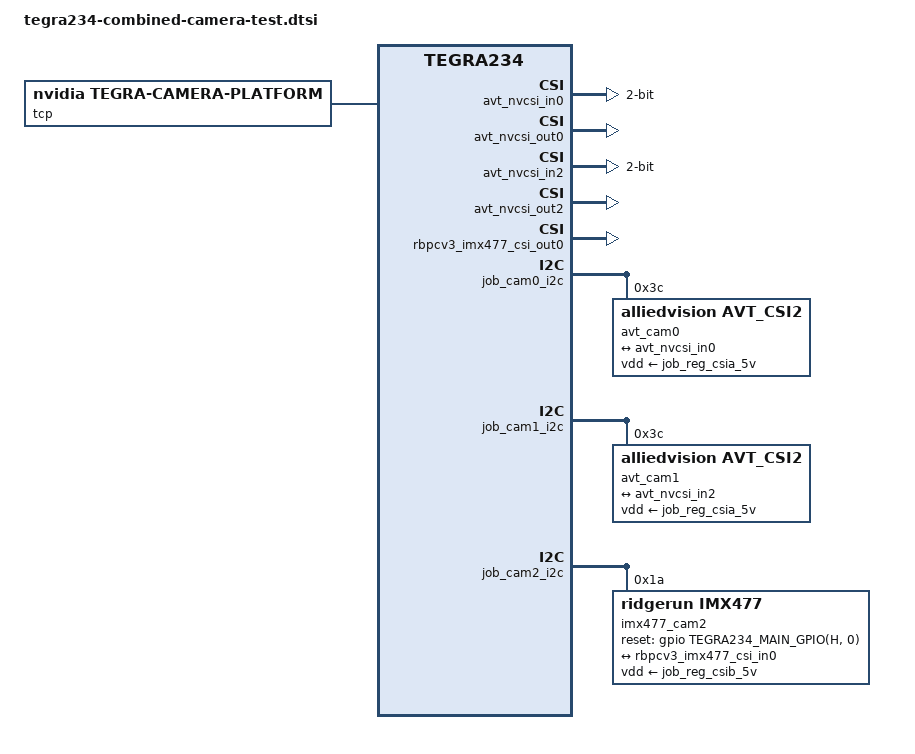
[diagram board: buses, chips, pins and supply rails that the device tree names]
/*
 * Copyright (c) 2022, NVIDIA CORPORATION.  All rights reserved.
 * Copyright (c) 2023 Antmicro <www.antmicro.com>
 * Copyright (c) 2026, University of Washington
 *
 * This program is free software; you can redistribute it and/or modify
 * it under the terms of the GNU General Public License as published by
 * the Free Software Foundation; either version 2 of the License, or
 * (at your option) any later version.
 *
 * This program is distributed in the hope that it will be useful, but WITHOUT
 * ANY WARRANTY; without even the implied warranty of MERCHANTABILITY or
 * FITNESS FOR A PARTICULAR PURPOSE.  See the GNU General Public License for
 * more details.
 *
 * You should have received a copy of the GNU General Public License
 * along with this program.  If not, see <http://www.gnu.org/licenses/>.
 */

/*
 * This DTSI file implements support for dual Allied Vision
 * Alvium 1800-C cameras attached to the J7 connector on the 
 * Antmicro Jetson Orin Baseboard (JOB) via a Capable Robot 
 * Y-flex cable
 *
 * We use only 2 lanes for each camera, independent of where
 * CSI3 is routed with R122/R108
 *
 * ====== Power management ======
 * CSI A and CSA B connectors feature GPIO-controlled 5V and 3V3 power
 * supplies. Alvium cameras use the 5V rails, controlled by following regulators:
 * - job_reg_csia_5v for CSI A
 * - job_reg_csib_5v for CSI B
 *
 *
 * Reset pins of Alvim are not routed on JOB and are pulled high, so GPIO
 * reset functionality is not available (?)
 *
 * Trigger pins for the Alvium are routed on JOB to the following nets:
 *
 * - Camera 0: VSYNC_CAM0_3V3 / VSYNC_CAM0 - SoM pin 114 - GPIO H.6
 * - Camera 1: VSYNC_CAM1_3V3 / VSYNC_CAM1 - SoM pin 120 - GPIO AC.0
 *
 * ====== I2C routing ======
 * - Camera 0: SCL/SDA_CAM0 (job_cam0_i2c)
 * - Camera 1: SCL/SDA_CAM1 (job_cam1_i2c)
 *
 * ====== CSI lane mapping ======
 * - Camera 0: CSI0 = CSI_A [CLK, D0, D1]
 * - Camera 1: CSI2 = CSI_C [CLK, D0, D1]
 *
 * ====== CSI lane polarity ======
 *
 * See Jetson Orin NX Design Guide DG-10931-001 fig.10-1.:
 * - CSI0_D1 is inverted on SoM
 * - CSI1_D0 is inverted on SoM
 */

// Force camera regulators on
&job_reg_csia_5v {
	/* @trisect The current avt_csi2 driver doesn't enable the 
	regulator on startup.

	This forces the regulator ON and keeps it on */
	regulator-always-on;
};

&job_reg_csib_5v {
	/* @trisect This forces the regulator ON and keeps it on */
	regulator-always-on;
};

 // Camera nodes
&job_cam0_i2c {
	status = "okay";

 	avt_cam0: camera@3c {
		status = "okay";
		compatible = "alliedvision,avt_csi2";
		reg = <0x3c>;
		nvidia,no-sensor-bus-introspection;
		vdd-supply = <&job_reg_csia_5v>;

		mode0 {
			mclk_khz = "24000";
			num_lanes = "2";
			tegra_sinterface = "serial_a";
			phy_mode = "DPHY";
			discontinuous_clk = "yes";
			dpcm_enable = "false";
			cil_settletime = "0";
			embedded_metadata_height = "0";
			/*
			 * even with a 2-lane camera this controls the whole
			 * SCIL - 4 lanes of both CSI 0 and CSI 1!
			 */
			lane_polarity = "6";

			csi_pixel_bit_depth = "4";
			active_w = "5488";
			active_h = "4112";
			pixel_t = "bayer_bggr";
			readout_orientation = "0";
			line_length = "5488";
			inherent_gain = "1";
			mclk_multiplier = "31.25";
			pix_clk_hz = "750000000";

			gain_factor = "16";
			framerate_factor = "1000000";
			exposure_factor = "1000000";
			
			min_gain_val = "16"; /* 1.0 */
			max_gain_val = "256"; /* 16.0 */
			step_gain_val = "1"; /* 0.125 */
			default_gain = "16"; /* 1.00x */

			min_hdr_ratio = "1";
			max_hdr_ratio = "64";
			min_framerate = "1500000"; /* 1.5 */
			max_framerate = "30000000"; /* 30 */
			step_framerate = "1";
			default_framerate = "10000000";

			min_exp_time = "34"; /* us */
			max_exp_time = "550385"; /* us */
			step_exp_time = "1";
			default_exp_time = "2495"; /* us */

		};

		ports {
			#address-cells = <1>;
			#size-cells = <0>;

			port@0 {
				reg = <0>;
				avt_cam0_out: endpoint {
					status = "okay";
					port-index = <0>;
					bus-width = <2>;
					data-lanes = <1 2>;
					clock-lanes = <0>;
					link-frequencies = /bits/ 64 <750000000>;
					remote-endpoint = <&avt_nvcsi_in0>;
				};
			};
		};
	};
};

&job_cam1_i2c {
	status = "okay";

	avt_cam1: camera@3c {
		compatible = "alliedvision,avt_csi2";
		reg = <0x3c>;
		nvidia,no-sensor-bus-introspection;
		vdd-supply = <&job_reg_csia_5v>;
		status = "okay";

		mode0 {
			mclk_khz = "24000";
			num_lanes = "2";
			tegra_sinterface = "serial_c";
			phy_mode = "DPHY";
			discontinuous_clk = "yes";
			dpcm_enable = "false";
			cil_settletime = "0";
			embedded_metadata_height = "0";

			csi_pixel_bit_depth = "4";
			active_w = "5488";
			active_h = "4112";
			pixel_t = "bayer_bggr";
			readout_orientation = "0";
			line_length = "5488";
			inherent_gain = "1";
			mclk_multiplier = "31.25";
			pix_clk_hz = "750000000";

			gain_factor = "16";
			framerate_factor = "1000000";
			exposure_factor = "1000000";
				
			min_gain_val = "16"; /* 1.0 */
			max_gain_val = "256"; /* 16.0 */
			step_gain_val = "1"; /* 0.125 */
			default_gain = "16"; /* 1.00x */

			min_hdr_ratio = "1";
			max_hdr_ratio = "64";
			min_framerate = "1500000"; /* 1.5 */
			max_framerate = "30000000"; /* 30 */
			step_framerate = "1";
			default_framerate = "10000000";

			min_exp_time = "34"; /* us */
			max_exp_time = "550385"; /* us */
			step_exp_time = "1";
			default_exp_time = "2495"; /* us */
		};

		ports {
			#address-cells = <1>;
			#size-cells = <0>;

			port@0 {
				reg = <0>;
				avt_cam1_out: endpoint {
					status = "okay";
					port-index = <2>;
					bus-width = <2>;
					data-lanes = <1 2>;
					clock-lanes = <0>;
					link-frequencies = /bits/ 64 <750000000>;
					remote-endpoint = <&avt_nvcsi_in2>;
				};
			};
		};
	};
};

&job_cam2_i2c {

	imx477_cam2: imx477@1a {
		compatible = "ridgerun,imx477";
		/* I2C device address */
		reg = <0x1a>;
		nvidia,no-sensor-bus-introspection;
		vdd-supply = <&job_reg_csib_5v>;

		/* V4L2 device node location */
		//devnode = "video0";

		/* Physical dimensions of sensor */
		physical_w = "7.564";
		physical_h = "5.476";

		sensor_model = "imx477";

		use_sensor_mode_id = "true";

		// Technically, this isn't connected...
		reset-gpios = <&gpio TEGRA234_MAIN_GPIO(H, 0) GPIO_ACTIVE_HIGH>; 

		mode0 { /* IMX477_MODE_4032X3040 */
			mclk_khz = "24000";
			num_lanes = "2";
			tegra_sinterface = "serial_b";
			phy_mode = "DPHY";
			discontinuous_clk = "no";
			dpcm_enable = "false";
			cil_settletime = "0";
			lane_polarity = "6";

			active_w = "4032";
			active_h = "3040";
			mode_type = "bayer";
			pixel_phase = "rggb";
			csi_pixel_bit_depth = "10";
			readout_orientation = "90";
			line_length = "9024";
			inherent_gain = "1";
			mclk_multiplier = "80";
			pix_clk_hz = "300000000";

			gain_factor = "16";
			framerate_factor = "1000000";
			exposure_factor = "1000000";
			min_gain_val = "16"; /* 1.00x */
			max_gain_val = "356"; /* 22x */
			step_gain_val = "1";
			default_gain = "16"; /* 1.00x */
			min_hdr_ratio = "1";
			max_hdr_ratio = "1";
			min_framerate = "2000000"; /* 2.0 fps */
			max_framerate = "30000000"; /* 30.0 fps */
			step_framerate = "1";
			default_framerate = "30000000"; /* 30.0 fps */
			min_exp_time = "13"; /* us */
			max_exp_time = "683709"; /* us */
			step_exp_time = "1";
			default_exp_time = "2495"; /* us */

			embedded_metadata_height = "2";
		};
		mode1 { /* IMX477_MODE_1920X1080 */
			mclk_khz = "24000";
			num_lanes = "2";
			tegra_sinterface = "serial_b";
			phy_mode = "DPHY";
			discontinuous_clk = "no";
			dpcm_enable = "false";
			cil_settletime = "0";
			lane_polarity = "6";

			active_w = "1920";
			active_h = "1080";
			mode_type = "bayer";
			pixel_phase = "rggb";
			csi_pixel_bit_depth = "10";
			readout_orientation = "90";
			line_length = "9024";
			inherent_gain = "1";
			mclk_multiplier = "80";
			pix_clk_hz = "300000000";

			gain_factor = "16";
			framerate_factor = "1000000";
			exposure_factor = "1000000";
			min_gain_val = "16"; /* 1.00x */
			max_gain_val = "356"; /* 22x */
			step_gain_val = "1";
			default_gain = "16"; /* 1.00x */
			min_hdr_ratio = "1";
			max_hdr_ratio = "1";
			min_framerate = "2000000"; /* 2.0 fps */
			max_framerate = "60000000"; /* 60.0 fps */
			step_framerate = "1";
			default_framerate = "60000000"; /* 60.0 fps */
			min_exp_time = "13"; /* us */
			max_exp_time = "683709"; /* us */
			step_exp_time = "1";
			default_exp_time = "2495"; /* us */

			embedded_metadata_height = "2";
		};

		ports {
			#address-cells = <1>;
			#size-cells = <0>;
			port@0 {
				reg = <0>;
				rbpcv3_imx477_out0: endpoint {
					port-index = <1>;
					bus-width = <2>;
					// Following copied from AVT configuration.
					data-lanes = <1 2>;
					clock-lanes = <0>;
					link-frequencies = /bits/ 64 <750000000>;
					remote-endpoint = <&rbpcv3_imx477_csi_in0>;
				};
			};
		};
	};
};

&gpio {

	// Left stereo camera on J7
	// It uses VSYNC_CAM2_1 == pin 114 == CAM0_PWDN == GPIO3_PP.04 == gpiochip1.96
	vsync-cam2-1 {
		/*gpio-hog;*/
		output-low;
		gpios = <TEGRA234_MAIN_GPIO(H, 6) GPIO_ACTIVE_HIGH>;
		label = "avt_left_sync";
		status = "okay";
	};

	// Right stereo camera on J7
	// It uses VSYNC_CAM2_2 == pin 130 == GPIO06 == GPIO3_PCC.03 == gpiochip2.15
	//  == ball name "SPI2_CS0"
	//
	// Strangely, when enabled, it breaks access to the QSPI?
	//
	// vsync-cam2-2 {
	// 	gpio-hog;
	// 	output-low;
	// 	gpios = <TEGRA234_MAIN_GPIO(AC, 0) GPIO_ACTIVE_HIGH>;
	// 	label = "avt_right_sync";
	// 	status = "okay";
	// };

	reset_imx477 {
		output-low;
		gpios = <TEGRA234_MAIN_GPIO(H, 0) GPIO_ACTIVE_HIGH>;
		label = "reset_imx477";
		status = "okay";
	};

};

/ {
	bus@0 {
		host1x@13e00000 {
			nvcsi@15a00000 {
				num-channels = <3>;
				#address-cells = <1>;
				#size-cells = <0>;

				channel@0 {
					reg = <0>;
					status = "okay";
					ports {
						#address-cells = <1>;
						#size-cells = <0>;
						port@0 {
							status = "okay";
							reg = <0>;
							avt_nvcsi_in0: endpoint@0 {
								status = "okay";
								port-index = <0>;
								bus-width = <2>;
								remote-endpoint = <&avt_cam0_out>;
							};
						};
						port@1 {
							status = "okay";
							reg = <1>;
							avt_nvcsi_out0: endpoint@1 {
								status = "okay";
								remote-endpoint = <&avt_vi_in0>;
							};
						};
					};
				};

				channel@1 {
					status = "okay";
					reg = <1>;
					ports {
						#address-cells = <1>;
						#size-cells = <0>;
						port@0 {
							status = "okay";
							reg = <0>;
							avt_nvcsi_in2: endpoint@0 {
								status = "okay";
								port-index = <2>;
								bus-width = <2>;
								remote-endpoint = <&avt_cam1_out>;
							};
						};
						port@1 {
							status = "okay";
							reg = <1>;
							avt_nvcsi_out2: endpoint@1 {
								status = "okay";
								remote-endpoint = <&avt_vi_in2>;
							};
						};
					};
				};

				channel@2 {
					reg = <2>;
					status = "okay";
					ports {
						#address-cells = <1>;
						#size-cells = <0>;
						port@0 {
							reg = <0>;
							status = "okay";
							rbpcv3_imx477_csi_in0: endpoint@0 {
								port-index = <1>;
								bus-width = <2>;
								remote-endpoint = <&rbpcv3_imx477_out0>;
							};
						};
						port@1 {
							reg = <1>;
							status = "okay";
							rbpcv3_imx477_csi_out0: endpoint@1 {
								status = "okay";
								remote-endpoint = <&rbpcv3_imx477_vi_in0>;
							};
						};
					};
				};

			};
		};
	};

	tegra-capture-vi {
		num-channels = <3>;

		ports {
			#address-cells = <1>;
			#size-cells = <0>;

			port@0 {
				reg = <0>;
				status = "okay";
				avt_vi_in0: endpoint {
					status = "okay";
					port-index = <0>;
					bus-width = <2>;
					remote-endpoint = <&avt_nvcsi_out0>;
				};
			};
			
			port@1 {
				status = "okay";
				reg = <1>;
				avt_vi_in2: endpoint {
					status = "okay";
					port-index = <2>;
					bus-width = <2>;
					remote-endpoint = <&avt_nvcsi_out2>;
				};
			};

			port@2 {
				reg = <2>;
				status = "okay";
				rbpcv3_imx477_vi_in0: endpoint {
					status = "okay";
					port-index = <1>;
					bus-width = <2>;
					remote-endpoint = <&rbpcv3_imx477_csi_out0>;
				};
			};
		};
	};

	tcp: tegra-camera-platform {
		compatible = "nvidia, tegra-camera-platform";
		status = "okay";
		/**
		* Physical settings to calculate max ISO BW
		*
		* num_csi_lanes = <>;
		* Total number of CSI lanes when all cameras are active
		*
		* max_lane_speed = <>;
		* Max lane speed in Kbit/s
		*
		* min_bits_per_pixel = <>;
		* Min bits per pixel
		*
		* vi_peak_byte_per_pixel = <>;
		* Max byte per pixel for the VI ISO case
		*
		* vi_bw_margin_pct = <>;
		* Vi bandwidth margin in percentage
		*
		* max_pixel_rate = <>;
		* Max pixel rate in Kpixel/s for the ISP ISO case
		*
		* isp_peak_byte_per_pixel = <>;
		* Max byte per pixel for the ISP ISO case
		*
		* isp_bw_margin_pct = <>;
		* Isp bandwidth margin in percentage
		*/
		num_csi_lanes = <4>;
		max_lane_speed = <1500000>;
		min_bits_per_pixel = <8>;
		vi_peak_byte_per_pixel = <2>;
		vi_bw_margin_pct = <25>;
		max_pixel_rate = <240000>;
		isp_peak_byte_per_pixel = <5>;
		isp_bw_margin_pct = <25>;

		/**
		 * The general guideline for naming badge_info contains 3 parts, and is as follows,
		 * The first part is the camera_board_id for the module; if the module is in a FFD
		 * platform, then use the platform name for this part.
		 * The second part contains the position of the module, ex. "rear" or "front".
		 * The third part contains the last 6 characters of a part number which is found
		 * in the module's specsheet from the vendor.
		 */
		modules {

			cam_module0: module0 {
				badge = "antmicro_front_imx477";
				position = "top";
				orientation = "1";
				status = "okay";
				cam_module0_drivernode0: drivernode0 {
					status = "okay";
					pcl_id = "v4l2_sensor";
					devname = "imx477 18-001a";
					proc-device-tree = "/proc/device-tree/i2c@3180000/avt_pca9548@70/i2c@2/imx477@1a";
				};
			};
		};

	};
};
